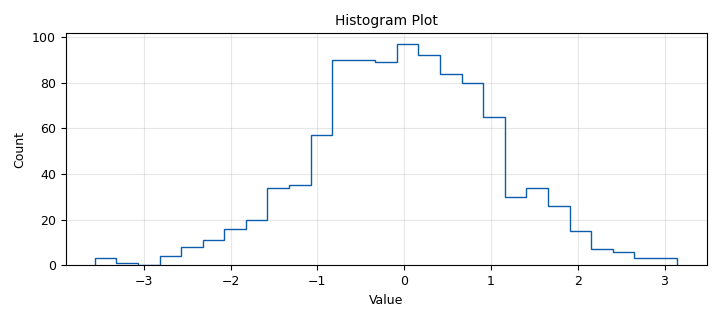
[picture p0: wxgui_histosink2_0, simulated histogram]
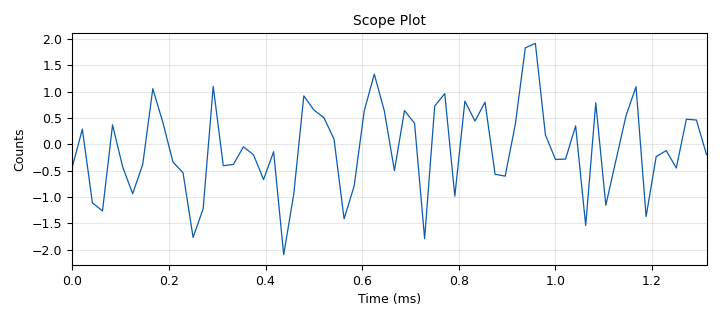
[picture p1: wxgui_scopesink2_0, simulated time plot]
<?xml version='1.0' encoding='utf-8'?>
<?grc format='1' created='3.7.9'?>
<flow_graph>
<block>
<key>options</key>
<param><key>id</key><value>top_block</value></param>
<param><key>category</key><value>Custom</value></param>
<param><key>generate_options</key><value>wx_gui</value></param>
</block>
<block>
<key>variable</key>
<param><key>id</key><value>samp_rate</value></param>
<param><key>value</key><value>48000</value></param>
</block>
<block>
<key>variable</key>
<param><key>id</key><value>sound_card</value></param>
<param><key>value</key><value>48000</value></param>
</block>
<block>
<key>analog_noise_source_x</key>
<param><key>id</key><value>analog_noise_source_x_0</value></param>
<param><key>amp</key><value>1</value></param>
<param><key>noise_type</key><value>analog.GR_GAUSSIAN</value></param>
<param><key>type</key><value>float</value></param>
<param><key>seed</key><value>0</value></param>
</block>
<block>
<key>analog_random_source_x</key>
<param><key>id</key><value>analog_random_source_x_0</value></param>
<param><key>_enabled</key><value>0</value></param>
<param><key>max</key><value>1</value></param>
<param><key>min</key><value>-1</value></param>
<param><key>num_samps</key><value>4096</value></param>
<param><key>type</key><value>short</value></param>
<param><key>repeat</key><value>True</value></param>
</block>
<block>
<key>audio_sink</key>
<param><key>id</key><value>audio_sink_0</value></param>
<param><key>samp_rate</key><value>samp_rate</value></param>
</block>
<block>
<key>blocks_short_to_float</key>
<param><key>id</key><value>blocks_short_to_float_0</value></param>
<param><key>_enabled</key><value>0</value></param>
<param><key>scale</key><value>1</value></param>
</block>
<block>
<key>facsink</key>
<param><key>id</key><value>facsink_0</value></param>
<param><key>avg_alpha</key><value>0</value></param>
<param><key>average</key><value>False</value></param>
<param><key>baseband_freq</key><value>0</value></param>
<param><key>peak_hold</key><value>False</value></param>
<param><key>fac_rate</key><value>facsink.default_fac_rate</value></param>
<param><key>ref_level</key><value>50</value></param>
<param><key>samp_rate</key><value>samp_rate</value></param>
<param><key>fac_size</key><value>32768</value></param>
<param><key>title</key><value>Fast AutoCorrelation</value></param>
<param><key>type</key><value>float</value></param>
<param><key>y_per_div</key><value>10</value></param>
</block>
<block>
<key>wxgui_histosink2</key>
<param><key>id</key><value>wxgui_histosink2_0</value></param>
<param><key>frame_size</key><value>1000</value></param>
<param><key>num_bins</key><value>27</value></param>
<param><key>title</key><value>Histogram Plot</value></param>
</block>
<block>
<key>wxgui_scopesink2</key>
<param><key>id</key><value>wxgui_scopesink2_0</value></param>
<param><key>ac_couple</key><value>False</value></param>
<param><key>num_inputs</key><value>1</value></param>
<param><key>samp_rate</key><value>samp_rate</value></param>
<param><key>t_scale</key><value>0</value></param>
<param><key>title</key><value>Scope Plot</value></param>
<param><key>trig_mode</key><value>wxgui.TRIG_MODE_AUTO</value></param>
<param><key>type</key><value>float</value></param>
<param><key>v_offset</key><value>0</value></param>
<param><key>v_scale</key><value>0</value></param>
<param><key>xy_mode</key><value>False</value></param>
<param><key>y_axis_label</key><value>Counts</value></param>
</block>
<connection><source_block_id>analog_noise_source_x_0</source_block_id><sink_block_id>audio_sink_0</sink_block_id><source_key>0</source_key><sink_key>0</sink_key></connection>
<connection><source_block_id>analog_noise_source_x_0</source_block_id><sink_block_id>facsink_0</sink_block_id><source_key>0</source_key><sink_key>0</sink_key></connection>
<connection><source_block_id>analog_noise_source_x_0</source_block_id><sink_block_id>wxgui_histosink2_0</sink_block_id><source_key>0</source_key><sink_key>0</sink_key></connection>
<connection><source_block_id>analog_noise_source_x_0</source_block_id><sink_block_id>wxgui_scopesink2_0</sink_block_id><source_key>0</source_key><sink_key>0</sink_key></connection>
<connection><source_block_id>analog_random_source_x_0</source_block_id><sink_block_id>blocks_short_to_float_0</sink_block_id><source_key>0</source_key><sink_key>0</sink_key></connection>
<connection><source_block_id>blocks_short_to_float_0</source_block_id><sink_block_id>audio_sink_0</sink_block_id><source_key>0</source_key><sink_key>0</sink_key></connection>
<connection><source_block_id>blocks_short_to_float_0</source_block_id><sink_block_id>facsink_0</sink_block_id><source_key>0</source_key><sink_key>0</sink_key></connection>
<connection><source_block_id>blocks_short_to_float_0</source_block_id><sink_block_id>wxgui_histosink2_0</sink_block_id><source_key>0</source_key><sink_key>0</sink_key></connection>
<connection><source_block_id>blocks_short_to_float_0</source_block_id><sink_block_id>wxgui_scopesink2_0</sink_block_id><source_key>0</source_key><sink_key>0</sink_key></connection>
</flow_graph>
